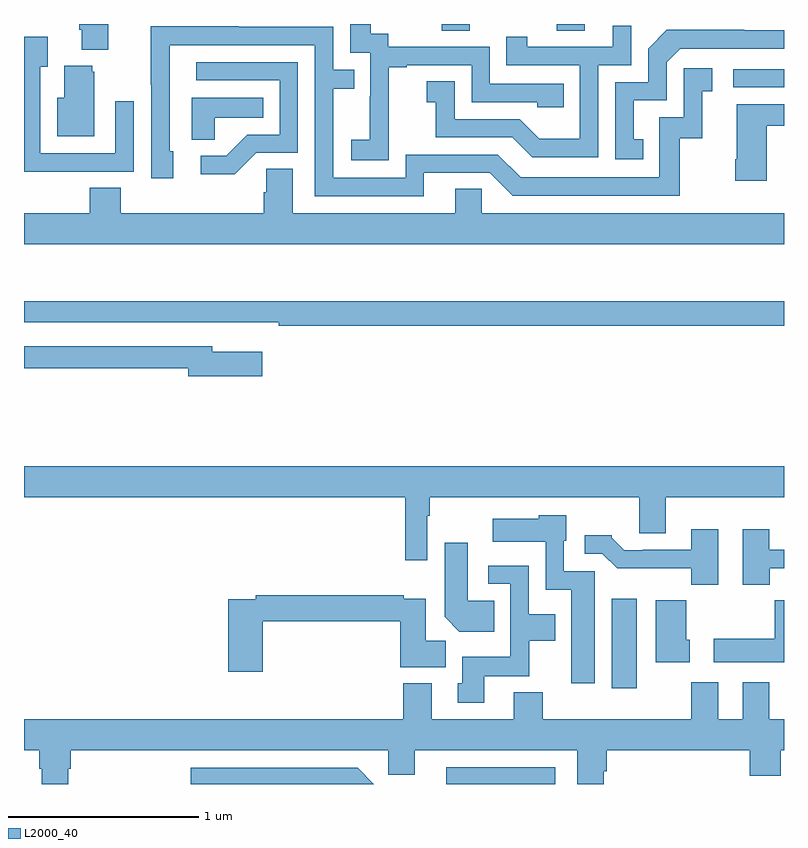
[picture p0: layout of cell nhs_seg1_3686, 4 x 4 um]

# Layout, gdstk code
import gdstk
lib = gdstk.Library(unit=1e-6, precision=1e-09)
def R(c, l, rs):  # rectangles x0, y0, x1, y1
    for r in rs: c.add(gdstk.rectangle(r[:2], r[2:], *l))
def P(c, l, *ps):  # polygons
    for p in ps: c.add(gdstk.Polygon(p, *l))
L2000_40 = (2000, 40)

nhs_seg1_3686 = lib.new_cell('nhs_seg1_3686')
R(nhs_seg1_3686, L2000_40, [(313.223,574.199,313.797,574.287), (314.093,574.704,314.224,575.173), (314.733,577.866,315,577.962), (313.199,578.164,313.347,578.199), (313.804,578.164,313.951,578.199)])
P(nhs_seg1_3686, L2000_40, [(312.921,577.687),(312.92,577.687),(312.92,577.971),(313.015,577.971),(313.015,577.983),(313.356,577.983),(313.356,577.788),(313.701,577.788),(313.701,577.761),(313.841,577.761),(313.841,577.884),(313.452,577.884),(313.452,578.079),(312.918,578.079),(312.918,578.148),(312.826,578.148),(312.826,578.199),(312.717,578.199),(312.717,578.049),(312.822,578.049),(312.822,577.82),(312.821,577.82),(312.821,577.591),(312.723,577.591),(312.723,577.481),(312.921,577.481)],
  [(311.443,578.199),(311.291,578.199),(311.291,578.17),(311.303,578.17),(311.303,578.063),(311.443,578.063)],
  [(314.022,577.983),(314.196,577.983),(314.196,578.191),(314.099,578.191),(314.099,578.079),(313.648,578.079),(313.648,578.131),(313.537,578.131),(313.537,577.983),(313.926,577.983),(313.926,577.594),(313.712,577.594),(313.608,577.698),(313.266,577.698),(313.266,577.897),(313.119,577.897),(313.119,577.787),(313.168,577.787),(313.168,577.602),(313.571,577.602),(313.676,577.497),(314.022,577.497)],
  [(313.105,577.416),(313.452,577.416),(313.572,577.296),(314.452,577.296),(314.452,577.599),(314.57,577.599),(314.57,577.845),(314.623,577.845),(314.623,577.966),(314.472,577.966),(314.472,577.707),(314.343,577.707),(314.343,577.392),(313.614,577.392),(313.494,577.512),(313.008,577.512),(313.008,577.389),(312.627,577.389),(312.627,577.858),(312.737,577.858),(312.737,577.959),(312.627,577.959),(312.627,578.184),(312.131,578.184),(312.131,578.186),(311.668,578.186),(311.668,577.879),(311.67,577.879),(311.67,577.386),(311.785,577.386),(311.785,577.53),(311.766,577.53),(311.766,578.088),(312.531,578.088),(312.531,577.293),(313.105,577.293)],
  [(314.258,577.593),(314.209,577.593),(314.209,577.797),(314.382,577.797),(314.382,577.998),(314.454,578.07),(315,578.07),(315,578.166),(314.792,578.166),(314.792,578.168),(314.384,578.168),(314.286,578.07),(314.286,577.893),(314.112,577.893),(314.112,577.488),(314.258,577.488)],
  [(311.261,577.422),(311.577,577.422),(311.577,577.792),(311.481,577.792),(311.481,577.518),(311.085,577.518),(311.085,577.975),(311.125,577.975),(311.125,578.131),(311,578.131),(311,577.421),(311.261,577.421)],
  [(312.222,577.521),(312.441,577.521),(312.441,577.998),(311.907,577.998),(311.907,577.902),(312.345,577.902),(312.345,577.617),(312.176,577.617),(312.065,577.506),(311.931,577.506),(311.931,577.409),(312.109,577.409)],
  [(311.371,577.947),(311.36,577.947),(311.36,577.978),(311.213,577.978),(311.213,577.81),(311.174,577.81),(311.174,577.607),(311.371,577.607)],
  [(312.003,577.706),(312.26,577.706),(312.26,577.81),(311.882,577.81),(311.882,577.591),(312.003,577.591)],
  [(314.908,577.663),(315,577.663),(315,577.777),(314.75,577.777),(314.75,577.486),(314.743,577.486),(314.743,577.374),(314.908,577.374)],
  [(315,577.204),(313.41,577.204),(313.41,577.331),(313.271,577.331),(313.271,577.204),(312.415,577.204),(312.415,577.436),(312.276,577.436),(312.276,577.313),(312.263,577.313),(312.263,577.204),(311.51,577.204),(311.51,577.337),(311.345,577.337),(311.345,577.204),(311,577.204),(311,577.04),(315,577.04)],
  [(315,576.739),(311,576.739),(311,576.63),(312.088,576.63),(312.088,576.629),(312.34,576.629),(312.34,576.61),(315,576.61)],
  [(312.253,576.475),(311.992,576.475),(311.992,576.504),(311,576.504),(311,576.388),(311.864,576.388),(311.864,576.346),(312.253,576.346)],
  [(313.122,575.612),(313.135,575.612),(313.135,575.708),(314.237,575.708),(314.237,575.518),(314.377,575.518),(314.377,575.708),(315,575.708),(315,575.872),(311,575.872),(311,575.708),(313.006,575.708),(313.006,575.376),(313.122,575.376)],
  [(314.005,575.319),(313.842,575.319),(313.842,575.478),(313.855,575.478),(313.855,575.614),(313.71,575.614),(313.71,575.596),(313.467,575.596),(313.467,575.474),(313.746,575.474),(313.746,575.222),(313.88,575.222),(313.88,574.728),(314.005,574.728)],
  [(314.653,575.539),(314.513,575.539),(314.513,575.433),(314.257,575.433),(314.257,575.43),(314.158,575.43),(314.094,575.494),(314.094,575.509),(313.95,575.509),(313.95,575.412),(314.043,575.412),(314.122,575.334),(314.511,575.334),(314.511,575.249),(314.653,575.249)],
  [(314.926,575.334),(315,575.334),(315,575.433),(314.923,575.433),(314.923,575.539),(314.783,575.539),(314.783,575.249),(314.926,575.249)],
  [(313.475,575.164),(313.336,575.164),(313.336,575.47),(313.214,575.47),(313.214,575.078),(313.292,575),(313.475,575)],
  [(313.423,574.766),(313.659,574.766),(313.659,574.952),(313.795,574.952),(313.795,575.092),(313.656,575.092),(313.656,575.349),(313.443,575.349),(313.443,575.253),(313.56,575.253),(313.56,574.87),(313.307,574.87),(313.307,574.728),(313.283,574.728),(313.283,574.626),(313.423,574.626)],
  [(312.257,575.056),(312.98,575.056),(312.98,574.814),(313.219,574.814),(313.219,574.952),(313.114,574.952),(313.114,575.174),(312.998,575.174),(312.998,575.192),(312.22,575.192),(312.22,575.172),(312.074,575.172),(312.074,574.791),(312.257,574.791)],
  [(314.503,574.959),(314.486,574.959),(314.486,575.167),(314.324,575.167),(314.324,574.841),(314.503,574.841)],
  [(315,575.167),(314.95,575.167),(314.95,574.963),(314.631,574.963),(314.631,574.841),(315,574.841)],
  [(311.233,574.28),(311.246,574.28),(311.246,574.376),(312.918,574.376),(312.918,574.249),(313.057,574.249),(313.057,574.376),(313.913,574.376),(313.913,574.199),(314.052,574.199),(314.052,574.267),(314.066,574.267),(314.066,574.376),(314.819,574.376),(314.819,574.243),(314.984,574.243),(314.984,574.376),(315,574.376),(315,574.54),(314.923,574.54),(314.923,574.735),(314.783,574.735),(314.783,574.54),(314.653,574.54),(314.653,574.735),(314.513,574.735),(314.513,574.54),(313.73,574.54),(313.73,574.681),(313.577,574.681),(313.577,574.54),(313.147,574.54),(313.147,574.729),(312.995,574.729),(312.995,574.54),(311,574.54),(311,574.376),(311.081,574.376),(311.081,574.28),(311.093,574.28),(311.093,574.199),(311.233,574.199)],
  [(312.756,574.284),(311.877,574.284),(311.877,574.199),(312.841,574.199)])

lib.write_gds('nhs_seg1_3686.gds')
